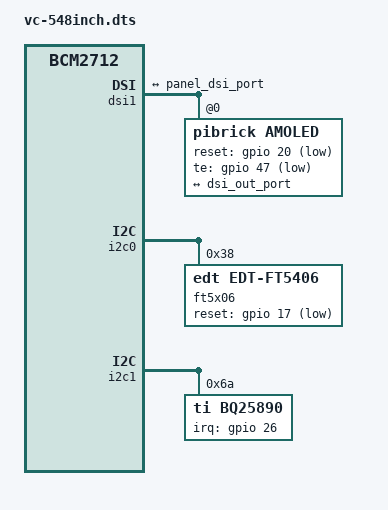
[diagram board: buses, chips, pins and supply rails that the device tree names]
/dts-v1/;
/plugin/;
/ {
	compatible = "brcm,bcm2712", "raspberrypi,5-compute-module", "raspberrypi,5-model-b";

	fragment@0 {
		target = <&dsi1>;
		__overlay__{
			status = "okay";
			#address-cells = <1>;
			#size-cells = <0>;
			port {
				dsi_out_port:endpoint {
					remote-endpoint = <&panel_dsi_port>;
					link-frequencies = /bits/ 64 <720000000>;
				};
			};

			pibrick:pibrick@0 {
				compatible    = "pibrick,amoled";
				status        = "okay";
				reg           = <0>;
				reset-gpios   = <&gpio 20 1>;   // Dummy GPIO , Unused
				te-gpios      = <&gpio 47 1>;   // 47 - dummy
				rotation      = <180>;
				port {
					panel_dsi_port: endpoint {
						remote-endpoint = <&dsi_out_port>;
					};
				};
			};
		};
	};

	fragment@1 {
		target = <&gpio>;
		__overlay__ {
			pibrick_pins: pibrick_pins {
				brcm,pins = <47>;
				brcm,function = <1>; // out
				brcm,pull = <1>; // off
			};
		};
	};

	fragment@2 {
		target = <&i2c0>;
        __overlay__ {
            #address-cells = <1>;
            #size-cells = <0>;
            status = "okay";

            ft5x06: touchscreen@38 {
                compatible = "edt,edt-ft5406";
                reg = <0x38>;
                pinctrl-names = "default";
                
                /* Define the GPIOs */
                //interrupt-parent = <&gpio>;
                //interrupts = <18 2>; // GPIO 4, IRQ_TYPE_EDGE_FALLING
                reset-gpios = <&gpio 17 1>; // GPIO 17, GPIO_ACTIVE_LOW
                
                /* Common touch properties */
                touchscreen-size-x = <1080>; 
                touchscreen-size-y = <1920>;

				/* Optional: Link to the DSI panel if the symbol exists */
                panel = <&pibrick>;

                /* Standard cleanup for high-res AMOLED touch response */
				// polling-delay-ms = <20>;
				// touchscreen-swapped-x-y;
				touchscreen-inverted-y;
				touchscreen-inverted-x;

                touchscreen-fuzz = <3>;
                touchscreen-average-samples = <4>;
				max-touch-number = <5>;
            };
        };
//		target = <&i2c0>;
//		__overlay__ {
//			#address-cells = <1>;
//			#size-cells = <0>;
//			status = "okay";
//
//			edt_ft5x06: edt_ft5x06@38 {
//				compatible = "edt,edt-ft5x06";
//				reg = <0x38>;
//				
//				pinctrl-names = "default";
//
//				interrupt-parent = <&gpio>;
//				interrupts = <4 2>;
//				reset-gpio = <&gpio 17 1>;
//				irq-gpio = <&gpio 4 2>; 
//
//				panel = <&pibrick>;
//
//				max-touch-number = <5>;
//				display-coords = <0 0 1080 1920>;
//				pos-swap = <0>;
//				posx-reverse = <0>;
//				posy-reverse = <0>;
//			};
//		};
	};
	
	fragment@3 {
		target = <&i2c1>;
		__overlay__ {
			#address-cells = <1>;
			#size-cells = <0>;
			status = "okay";

			bq25890: bq25890@6a {
				compatible = "ti,bq25890";
				reg = <0x6a>;
				
				ti,battery-regulation-voltage = <4100000>;
				ti,charge-current = <4000000>;
				ti,termination-current = <50000>;
				ti,precharge-current = <128000>;
				ti,minimum-sys-voltage = <3600000>;
				ti,boost-voltage = <5000000>;
				ti,boost-max-current = <3000000>;
				ti,use-ilim-pin;
				ti,thermal-regulation-threshold = <120>;

				interrupt-parent = <&gpio>;
				interrupts = <26 2>;
			};
		};
	};
	
};
